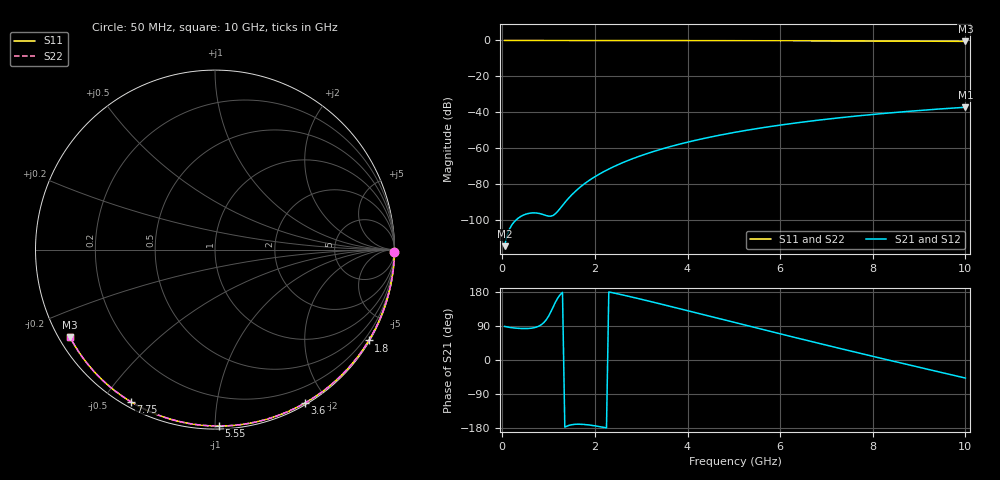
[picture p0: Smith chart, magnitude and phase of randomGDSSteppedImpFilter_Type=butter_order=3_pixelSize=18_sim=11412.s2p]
! freq	dB(S11)	phase(S11)	dB(S12)	phase(S12)
!  dB(S21)	phase(S21)	dB(S22)	phase(S22)
!S-par simulation data
#  GHz  S  DB  R 50
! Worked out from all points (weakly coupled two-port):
!   200 points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, 50 MHz to 10 GHz, reference 50 ohm
!   highest |S21| = -37.22 dB at 10 GHz (marker M1); lowest = -114.6 dB at 50 MHz (marker M2)
!   lowest |S11| = -0.5 dB at 10 GHz (marker M3), VSWR 34.54, Z = 1.56 - j13.9 ohm
!   |S11| at or under -10 dB: nowhere
!   |S22| runs from -0.5 to 0.0 dB; largest |S21 - S12| = 0
!   S11 on the Smith chart (normalised r, x): 50 MHz: open; 1.8 GHz: 0.03, -3.66; 3.6 GHz: 0.02, -1.75; 5.55 GHz: 0.02, -1.02; 7.75 GHz: 0.02, -0.59; 10 GHz: 0.03, -0.28
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0.05  -0.00 -0.9  -114.63 88.6  -114.63 88.6  -0.00 -0.9
0.45  -0.01 -7.8  -97.38 83.0  -97.38 83.0  -0.01 -7.8
0.9  -0.02 -15.4  -97.15 99.1  -97.15 99.1  -0.02 -15.4
1.3  -0.03 -22.2  -91.91 178.4  -91.91 178.4  -0.03 -22.2
1.75  -0.04 -29.7  -80.33 -169.9  -80.33 -169.9  -0.04 -29.7
1.8  -0.04 -30.6  -79.36 -170.5  -79.36 -170.5  -0.04 -30.6
1.95  -0.04 -33.1  -76.72 -172.7  -76.72 -172.7  -0.04 -33.1
2.1  -0.05 -35.5  -74.40 -175.7  -74.40 -175.7  -0.05 -35.5
2.3  -0.05 -38.8  -71.64 179.6  -71.64 179.6  -0.05 -38.8
2.5  -0.05 -42.1  -69.21 174.4  -69.21 174.4  -0.05 -42.1
2.9  -0.06 -48.5  -65.05 163.2  -65.05 163.2  -0.06 -48.5
3.4  -0.08 -56.5  -60.81 148.4  -60.81 148.4  -0.08 -56.5
3.6  -0.08 -59.6  -59.33 142.4  -59.33 142.4  -0.08 -59.6
4.3  -0.10 -70.4  -54.89 121.0  -54.89 121.0  -0.10 -70.4
5.05  -0.13 -81.5  -51.06 98.0  -51.06 98.0  -0.13 -81.5
5.55  -0.15 -88.7  -48.90 82.7  -48.90 82.7  -0.15 -88.8
6.1  -0.17 -96.5  -46.80 66.1  -46.80 66.1  -0.17 -96.5
6.7  -0.20 -104.9  -44.80 48.0  -44.80 48.0  -0.20 -104.9
7.75  -0.28 -119.1  -41.84 17.0  -41.84 17.0  -0.28 -119.1
8.35  -0.33 -127.0  -40.41 -0.5  -40.41 -0.5  -0.33 -127.0
9.2  -0.41 -138.2  -38.64 -24.9  -38.64 -24.9  -0.41 -138.2
10  -0.50 -148.8  -37.22 -47.6  -37.22 -47.6  -0.50 -148.8
